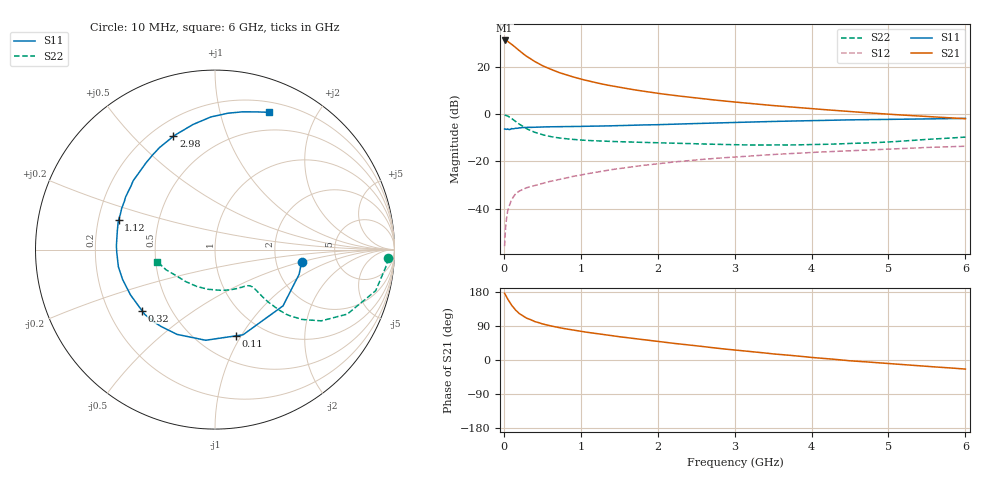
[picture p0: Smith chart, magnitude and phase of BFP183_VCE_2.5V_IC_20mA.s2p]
! Infineon Technologies  Discrete & RF Semiconductors
! BFP183
! VCE = 2.5 V,  IC =  20 mA
! Common Emitter S-Parameters:  Jan 2016
# GHz  S  MA  R  50
!  f  S11  S21  S12  S22
! GHz  MAG  ANG  MAG  ANG  MAG  ANG  MAG  ANG
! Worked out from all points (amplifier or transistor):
!   210 points, 10 MHz to 6 GHz, reference 50 ohm
!   highest |S21| = 31.3 dB at 10 MHz (marker M1)
!   |S21| within 3 dB of that: start of sweep to 153.7 MHz
!   unconditionally stable (mu >= 1): 767.7 MHz to 5.515 GHz
!   at 185 MHz: K = 0.40, MSG = 30.2 dB, |S12| = -32.9 dB
!   at 1.52 GHz: K = 1.16, MAG = 14.8 dB, |S12| = -22.9 dB
!   at 6 GHz: K = 0.95, MSG = 5.8 dB, |S12| = -13.5 dB
!   S11 on the Smith chart (normalised r, x): 10 MHz: 2.80, -0.50; 110 MHz: 0.74, -0.95; 320 MHz: 0.34, -0.32; 1.12 GHz: 0.29, +0.14; 2.98 GHz: 0.29, +0.66; 6 GHz: 0.30, +1.42
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0.01  0.4877 -8.0  36.9 176.0  0.0016 79.1  0.9662 -2.8
0.02  0.4884 -16.4  36.78 172.4  0.0034 78.0  0.9565 -5.8
0.05  0.4918 -39.6  35.38 160.7  0.0089 76.9  0.9238 -14.4
0.1  0.4997 -71.8  30.86 144.6  0.0153 64.1  0.8201 -26.0
0.11  0.4942 -76.6  29.87 142.4  0.0163 62.3  0.7974 -27.4
0.15  0.5078 -95.9  26.43 132.0  0.0203 56.7  0.712 -33.9
0.2  0.5175 -114.1  22.55 122.6  0.0236 52.2  0.6208 -38.8
0.26  0.5269 -129.4  18.8 114.5  0.026 50.0  0.5373 -42.2
0.3  0.5325 -137.3  16.86 110.1  0.0279 49.5  0.4914 -43.3
0.32  0.5301 -140.2  16.11 108.7  0.0285 49.3  0.4764 -43.5
0.4  0.5342 -151.7  13.25 101.5  0.0308 48.7  0.4167 -44.6
0.52  0.5414 -163.7  10.46 94.4  0.0349 48.8  0.3637 -44.8
0.7  0.547 -176.7  7.862 86.1  0.0408 51.2  0.3183 -44.6
1.02  0.5562 167.4  5.492 75.1  0.0524 53.1  0.2837 -45.7
1.12  0.5619 162.8  5.025 72.0  0.0565 53.3  0.2777 -46.5
1.5  0.5777 149.7  3.751 61.4  0.0708 52.9  0.2633 -50.9
2.02  0.6047 133.7  2.762 48.6  0.0905 50.1  0.2497 -60.2
2.98  0.6725 110.2  1.84 26.7  0.1241 42.3  0.2273 -84.2
3.1  0.6793 107.8  1.765 24.5  0.1279 41.3  0.2252 -87.8
4.1  0.7433 90.3  1.284 5.2  0.1583 32.4  0.23 -119.7
5.1  0.7857 77.7  0.984 -10.8  0.185 24.8  0.2653 -148.2
6  0.821 68.7  0.808 -23.9  0.2108 16.4  0.329 -168.2
